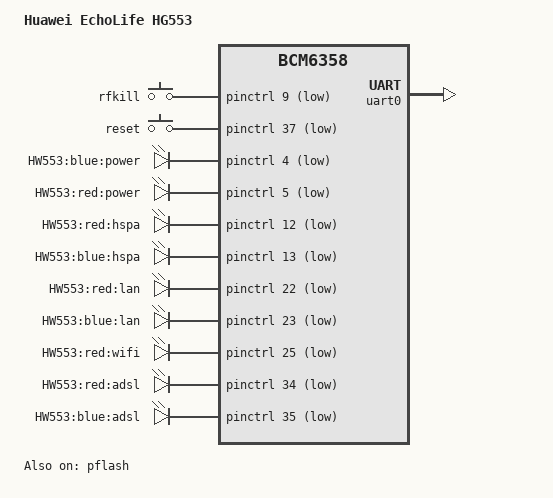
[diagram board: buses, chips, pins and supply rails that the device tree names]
/dts-v1/;

#include "bcm6358.dtsi"

#include <dt-bindings/input/input.h>

/ {
	model = "Huawei EchoLife HG553";
	compatible = "huawei,echolife-hg553", "brcm,bcm6358";

	aliases {
		led-boot = &led_power_blue;
		led-failsafe = &led_power_blue;
		led-running = &led_power_blue;
		led-upgrade = &led_power_blue;
	};

	chosen {
		bootargs = "rootfstype=squashfs,jffs2 noinitrd console=ttyS0,115200";
		stdout-path = "serial0:115200n8";
	};

	keys {
		compatible = "gpio-keys-polled";
		#address-cells = <1>;
		#size-cells = <0>;
		poll-interval = <20>;

		rfkill {
			label = "rfkill";
			gpios = <&pinctrl 9 1>;
			linux,code = <KEY_RFKILL>;
			debounce-interval = <60>;
		};

		reset {
			label = "reset";
			gpios = <&pinctrl 37 1>;
			linux,code = <KEY_RESTART>;
			debounce-interval = <60>;
		};
	};

	leds {
		compatible = "gpio-leds";

		led_power_blue: power_blue {
			label = "HW553:blue:power";
			gpios = <&pinctrl 4 1>;
			default-state = "on";
		};
		power_red {
			label = "HW553:red:power";
			gpios = <&pinctrl 5 1>;
		};
		hspa_red {
			label = "HW553:red:hspa";
			gpios = <&pinctrl 12 1>;
		};
		hspa_blue {
			label = "HW553:blue:hspa";
			gpios = <&pinctrl 13 1>;
		};
		lan_red {
			label = "HW553:red:lan";
			gpios = <&pinctrl 22 1>;
		};
		lan_blue {
			label = "HW553:blue:lan";
			gpios = <&pinctrl 23 1>;
		};
		wifi_red {
			label = "HW553:red:wifi";
			gpios = <&pinctrl 25 1>;
		};
		dsl_red {
			label = "HW553:red:adsl";
			gpios = <&pinctrl 34 1>;
		};
		dsl_blue {
			label = "HW553:blue:adsl";
			gpios = <&pinctrl 35 1>;
		};
	};
};

&pflash {
	status = "okay";

	partitions {
		compatible = "fixed-partitions";
		#address-cells = <1>;
		#size-cells = <1>;

		cfe@0 {
			label = "CFE";
			reg = <0x000000 0x020000>;
			read-only;
		};

		linux@20000 {
			label = "linux";
			reg = <0x020000 0xfc0000>;
			compatible = "brcm,bcm963xx-imagetag";
		};

		nvram@fe0000 {
			label = "nvram";
			reg = <0xfe0000 0x020000>;
		};
	};
};

&uart0 {
	status = "okay";
};
